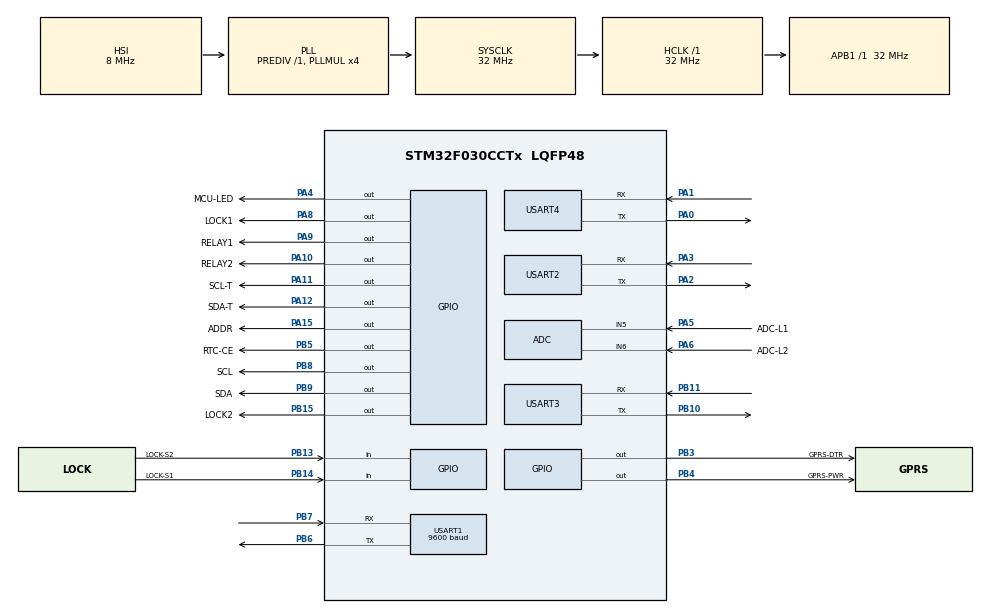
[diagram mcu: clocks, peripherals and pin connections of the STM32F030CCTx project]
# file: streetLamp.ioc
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ADC.ContinuousConvMode=DISABLE
ADC.DMAContinuousRequests=DISABLE
ADC.DiscontinuousConvMode=ENABLE
ADC.EOCSelection=ADC_EOC_SINGLE_CONV
ADC.SamplingTime=ADC_SAMPLETIME_1CYCLE_5
Mcu.Family=STM32F0
Mcu.Name=STM32F030CCTx
Mcu.Package=LQFP48
NVIC.TIM3_IRQn=true\:0\:0\:false\:false\:true\:true\:true
NVIC.USART1_IRQn=true\:0\:0\:false\:false\:true\:true\:true
NVIC.USART2_IRQn=true\:0\:0\:false\:false\:true\:true\:true
PA0.Mode=Asynchronous
PA0.Signal=USART4_TX
PA1.Mode=Asynchronous
PA1.Signal=USART4_RX
PA10.GPIO_Label=RELAY2
PA10.Signal=GPIO_Output
PA11.GPIO_Label=SCL-T
PA11.GPIO_ModeDefaultOutputPP=GPIO_MODE_OUTPUT_OD
PA11.Signal=GPIO_Output
PA12.GPIO_Label=SDA-T
PA12.GPIO_ModeDefaultOutputPP=GPIO_MODE_OUTPUT_OD
PA12.Signal=GPIO_Output
PA13.Mode=Serial_Wire
PA13.Signal=SYS_SWDIO
PA14.Mode=Serial_Wire
PA14.Signal=SYS_SWCLK
PA15.GPIO_Label=ADDR
PA15.Signal=GPIO_Output
PA2.Mode=Asynchronous
PA2.Signal=USART2_TX
PA3.Mode=Asynchronous
PA3.Signal=USART2_RX
PA4.GPIO_Label=MCU-LED
PA4.Signal=GPIO_Output
PA5.GPIO_Label=ADC-L1
PA5.Mode=IN5
PA5.Signal=ADC_IN5
PA6.GPIO_Label=ADC-L2
PA6.Mode=IN6
PA6.Signal=ADC_IN6
PA8.GPIO_Label=LOCK1
PA8.Signal=GPIO_Output
PA9.GPIO_Label=RELAY1
PA9.Signal=GPIO_Output
PB10.Mode=Asynchronous
PB10.Signal=USART3_TX
PB11.Mode=Asynchronous
PB11.Signal=USART3_RX
PB13.GPIO_Label=LOCK-S2
PB13.Signal=GPIO_Input
PB14.GPIO_Label=LOCK-S1
PB14.Signal=GPIO_Input
PB15.GPIO_Label=LOCK2
PB15.Signal=GPIO_Output
PB3.GPIO_Label=GPRS-DTR
PB3.Signal=GPIO_Output
PB4.GPIO_Label=GPRS-PWR
PB4.Signal=GPIO_Output
PB5.GPIO_Label=RTC-CE
PB5.Signal=GPIO_Output
PB6.Mode=Asynchronous
PB6.Signal=USART1_TX
PB7.Mode=Asynchronous
PB7.Signal=USART1_RX
PB8.GPIO_Label=SCL
PB8.GPIO_ModeDefaultOutputPP=GPIO_MODE_OUTPUT_OD
PB8.Signal=GPIO_Output
PB9.GPIO_Label=SDA
PB9.GPIO_ModeDefaultOutputPP=GPIO_MODE_OUTPUT_OD
PB9.Signal=GPIO_Output
PF0-OSC_IN.Mode=HSE-External-Oscillator
PF0-OSC_IN.Signal=RCC_OSC_IN
PF1-OSC_OUT.Mode=HSE-External-Oscillator
PF1-OSC_OUT.Signal=RCC_OSC_OUT
ProjectManager.HeapSize=0x200
ProjectManager.StackSize=0x400
ProjectManager.TargetToolchain=MDK-ARM V5.27
RCC.AHBFreq_Value=32000000
RCC.APB1Freq_Value=32000000
RCC.APB1TimFreq_Value=32000000
RCC.HCLKFreq_Value=32000000
RCC.PLLMUL=RCC_PLL_MUL4
RCC.SYSCLKFreq_VALUE=32000000
RCC.SYSCLKSource=RCC_SYSCLKSOURCE_PLLCLK
TIM3.Period=1000
TIM3.Prescaler=32
USART1.BaudRate=9600
USART1.Parity=PARITY_EVEN
USART1.VirtualMode-Asynchronous=VM_ASYNC
USART1.WordLength=WORDLENGTH_9B
USART2.VirtualMode-Asynchronous=VM_ASYNC
USART3.VirtualMode-Asynchronous=VM_ASYNC
USART4.VirtualMode-Asynchronous=VM_ASYNC
VP_ADC_TempSens_Input.Mode=IN-TempSens
VP_TIM3_VS_ClockSourceINT.Mode=Internal
board=custom

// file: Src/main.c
/* USER CODE BEGIN Header */
/**
  ******************************************************************************
  * @file           : main.c
  * @brief          : Main program body
  ******************************************************************************
  * @attention
  *
  * <h2><center>&copy; Copyright (c) 2020 STMicroelectronics.
  * All rights reserved.</center></h2>
  *
  * This software component is licensed by ST under BSD 3-Clause license,
  * the "License"; You may not use this file except in compliance with the
  * License. You may obtain a copy of the License at:
  *                        opensource.org/licenses/BSD-3-Clause
  *
  ******************************************************************************
  */
/* USER CODE END Header */

#include "main.h"
#include "adc.h"
#include "tim.h"
#include "usart.h"
#include "gpio.h"

/* USER CODE BEGIN Includes */
#include <stdio.h>
#include "core/AHT10.h"
#include "core/atprocess.h"
#include "core/jcFifo.h"
#include "core/atHandle.h"
#include "core/rs485Handle.h"
#include "core/bsp_645.h"
/* USER CODE END Includes */

/* USER CODE BEGIN PTD */
uint32_t lock1OpenFlag = 0;
uint32_t lock2OpenFlag = 0;
Data_Frame Power;
/* USER CODE END PTD */

void SystemClock_Config(void);

/* USER CODE BEGIN 0 */
int fputc(int ch,FILE *f)
{
  uint8_t temp[1]={ch};
  HAL_UART_Transmit(&huart3,temp,1,2);
}
void HAL_UART_RxHalfCpltCallback(UART_HandleTypeDef *huart)
{
  /* Prevent unused argument(s) compilation warning */
    uartRecvLen = strlen(uartRxBuf);

  /* NOTE: This function should not be modified, when the callback is needed,
           the HAL_UART_TxHalfCpltCallback can be implemented in the user file.
   */
}
/* USER CODE END 0 */

int main(void)
{
  /* USER CODE BEGIN 1 */
  uint32_t recvTick = 0;
  uint8_t recvFlag = 0;
  uint8_t lock1StatusLast = 0;
  uint8_t lock2StatusLast = 0;
  uint32_t ad_buf[99] = {0};
  /* USER CODE END 1 */

  /* MCU Configuration--------------------------------------------------------*/

  /* Reset of all peripherals, Initializes the Flash interface and the Systick. */
  HAL_Init();

  /* Configure the system clock */
  SystemClock_Config();

  /* Initialize all configured peripherals */
  MX_GPIO_Init();
  MX_ADC_Init();
  MX_USART1_UART_Init();
  MX_USART2_UART_Init();
  MX_USART3_UART_Init();
  MX_USART4_UART_Init();
  MX_TIM3_Init();
  /* USER CODE BEGIN 2 */
  printf("hello world.\r\n");
  // HAL_ADC_Start_DMA(&hadc, (uint32_t*) &ad_buf, 99);
  HAL_TIM_Base_Start_IT(&htim3);
  AHT_Init();
  BH1750_Init();
  // ADC?????
  uint16_t adc_value = 0;
  uint16_t adcBuf[3] = {0};
  // ???
  float voltage = 0.0;
  // ???????
  char voltString[50] = {0};
  /* USER CODE END 2 */

  /* Infinite loop */
  /* USER CODE BEGIN WHILE */
  // uartUserInit();
  atCmdSendStr(AT_CMD_ATE);
  // Power= Cmd_Bucket(69);
  while (1)
  {
    // for(int i=1;i<4;i++)
    // {
    //   HAL_ADC_Start(&hadc);
    //   HAL_ADC_PollForConversion(&hadc,100);//??ADC????
    //   adcBuf[i]=HAL_ADC_GetValue(&hadc);
    //   voltage = (float)adcBuf[i] / 4096 * 3.3;
    //   printf("------ch:%d--%d-------%.2f V\r\n",i,adcBuf[i],voltage);
    // }
    // HAL_ADC_Stop(&hadc);
    // HAL_Delay(1000);

    // Read_Ack(&Power,17);
    // rs485UartRxHandle();
    // HAL_Delay(1000);
    #if 1
    // AHT_GetData();
    // BH1750_GetData();
    uint8_t readValue = 0;
    if(jcFifoReadByte_del(&uartRxFifo,&readValue,1) > 0)
    {
      at_cmd_recv(readValue,0);
      recvTick = HAL_GetTick();
      recvFlag = 1;
    }
    // if(sysTimeCnt % 1000 == 0)
    // {
    //   rs485UartGetData(0);
		// }
    // rs485UartRxHandle();
    if ((HAL_GetTick() - recvTick) > AT_RX_TIMEOUT && recvFlag == 1)
    {
      printf("recv timeout.\r\n");
      at_cmd_recv(readValue,1);
      recvFlag = 0;
	  }

		if(atRecvNorFlag == 0 && sysTimeCnt % 3000 == 0)
		{
      printf("send ate cmd.\r\n");
			atCmdSendStr(AT_CMD_ATE);
      uartUserInit();
		}
    if(sysTimeCnt % 30000 == 0)
    {
      uint8_t sendBuf[100]  = {0};
      printf("send HeartBeat cmd.\r\n");
      sprintf(sendBuf,"\{\"HeartBeat\":\"520\",\"signal\":\"%d\",\"Temperature\":\"%0.1f\"\}",signal,Temperature);
      atCmdsendTcpData(sendBuf,0x92);
		}

    uint8_t lockStatusCurrent = HAL_GPIO_ReadPin(LOCK_S1_GPIO_Port,LOCK_S1_Pin);
    if(lock1StatusLast != lockStatusCurrent)
    {
      uint8_t sendBuf[20]  = {0};
      lock1StatusLast = lockStatusCurrent;
      printf("send lock cmd.\r\n");
      if(lock1OpenFlag)
      {
        snprintf(sendBuf,20,"{\"lock1\":\"%d\"}",3);
      }
      else
      {
        snprintf(sendBuf,20,"{\"lock1\":\"%d\"}",lock1StatusLast==0?1:2);
      }
      atCmdsendTcpData(sendBuf,0x90);
    }
    lockStatusCurrent = HAL_GPIO_ReadPin(LOCK_S2_GPIO_Port,LOCK_S2_Pin);
    if(lock2StatusLast != lockStatusCurrent)
    {
      uint8_t sendBuf[20]  = {0};
      lock2StatusLast = lockStatusCurrent;
      printf("send lock cmd.\r\n");
      if(lock2OpenFlag)
      {
        snprintf(sendBuf,20,"{\"lock2\":\"%d\"}",3);
      }
      else
      {
        snprintf(sendBuf,20,"{\"lock2\":\"%d\"}",lock2StatusLast==0?1:2);
      }
      atCmdsendTcpData(sendBuf,0x90);
    }
    if(sysTimeCnt % 60000 == 0)
    {
      uint8_t sendBuf[40]  = {0};
      snprintf(sendBuf,40,"{\"lock1\":\"%d\",\"lock2\":\"%d\"}",lock1OpenFlag==1?3:(lock1StatusLast==0?1:2),lock2OpenFlag==1?3:(lock2StatusLast==0?1:2));
      atCmdsendTcpData(sendBuf,0x90);
    }
		#endif
    /* USER CODE END WHILE */

  }
}

void SystemClock_Config(void)
{
  RCC_OscInitTypeDef RCC_OscInitStruct = {0};
  RCC_ClkInitTypeDef RCC_ClkInitStruct = {0};
  RCC_PeriphCLKInitTypeDef PeriphClkInit = {0};

  /** Initializes the CPU, AHB and APB busses clocks
  */
  RCC_OscInitStruct.OscillatorType = RCC_OSCILLATORTYPE_HSI|RCC_OSCILLATORTYPE_HSI14;
  RCC_OscInitStruct.HSIState = RCC_HSI_ON;
  RCC_OscInitStruct.HSI14State = RCC_HSI14_ON;
  RCC_OscInitStruct.HSICalibrationValue = RCC_HSICALIBRATION_DEFAULT;
  RCC_OscInitStruct.HSI14CalibrationValue = 16;
  RCC_OscInitStruct.PLL.PLLState = RCC_PLL_ON;
  RCC_OscInitStruct.PLL.PLLSource = RCC_PLLSOURCE_HSI;
  RCC_OscInitStruct.PLL.PLLMUL = RCC_PLL_MUL4;
  RCC_OscInitStruct.PLL.PREDIV = RCC_PREDIV_DIV1;
  if (HAL_RCC_OscConfig(&RCC_OscInitStruct) != HAL_OK)
  {
    Error_Handler();
  }
  /** Initializes the CPU, AHB and APB busses clocks
  */
  RCC_ClkInitStruct.ClockType = RCC_CLOCKTYPE_HCLK|RCC_CLOCKTYPE_SYSCLK
                              |RCC_CLOCKTYPE_PCLK1;
  RCC_ClkInitStruct.SYSCLKSource = RCC_SYSCLKSOURCE_PLLCLK;
  RCC_ClkInitStruct.AHBCLKDivider = RCC_SYSCLK_DIV1;
  RCC_ClkInitStruct.APB1CLKDivider = RCC_HCLK_DIV1;

  if (HAL_RCC_ClockConfig(&RCC_ClkInitStruct, FLASH_LATENCY_1) != HAL_OK)
  {
    Error_Handler();
  }
  PeriphClkInit.PeriphClockSelection = RCC_PERIPHCLK_USART1;
  PeriphClkInit.Usart1ClockSelection = RCC_USART1CLKSOURCE_PCLK1;
  if (HAL_RCCEx_PeriphCLKConfig(&PeriphClkInit) != HAL_OK)
  {
    Error_Handler();
  }
}

void Error_Handler(void)
{
}

/************************ (C) COPYRIGHT STMicroelectronics *****END OF FILE****/
